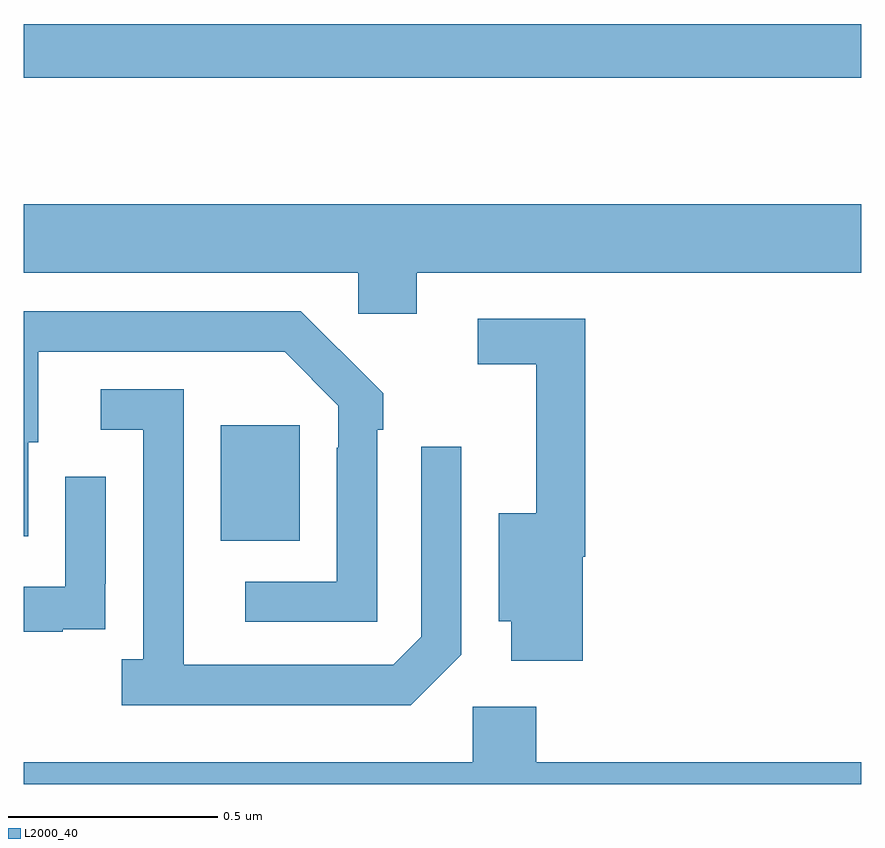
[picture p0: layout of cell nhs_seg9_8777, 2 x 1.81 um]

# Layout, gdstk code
import gdstk
lib = gdstk.Library(unit=1e-6, precision=1e-09)
def R(c, l, rs):  # rectangles x0, y0, x1, y1
    for r in rs: c.add(gdstk.rectangle(r[:2], r[2:], *l))
def P(c, l, *ps):  # polygons
    for p in ps: c.add(gdstk.Polygon(p, *l))
L2000_40 = (2000, 40)

nhs_seg9_8777 = lib.new_cell('nhs_seg9_8777')
R(nhs_seg9_8777, L2000_40, [(221.471,1229.081,221.659,1229.356), (221,1230.186,223,1230.314)])
P(nhs_seg9_8777, L2000_40, [(221.938,1229.72),(223,1229.72),(223,1229.884),(221,1229.884),(221,1229.72),(221.799,1229.72),(221.799,1229.622),(221.938,1229.622)],
  [(221.844,1229.345),(221.859,1229.345),(221.859,1229.433),(221.754,1229.538),(221.753,1229.537),(221.662,1229.628),(221,1229.628),(221,1229.091),(221.011,1229.091),(221.011,1229.316),(221.035,1229.316),(221.035,1229.532),(221.623,1229.532),(221.751,1229.403),(221.751,1229.303),(221.748,1229.303),(221.748,1228.983),(221.529,1228.983),(221.529,1228.887),(221.844,1228.887)],
  [(222.335,1229.042),(222.341,1229.042),(222.341,1229.61),(222.084,1229.61),(222.084,1229.502),(222.224,1229.502),(222.224,1229.146),(222.134,1229.146),(222.134,1228.889),(222.164,1228.889),(222.164,1228.794),(222.335,1228.794)],
  [(222.045,1228.809),(222.045,1229.305),(221.949,1229.305),(221.949,1228.851),(221.883,1228.785),(221.383,1228.785),(221.383,1228.985),(221.382,1228.985),(221.382,1229.442),(221.184,1229.442),(221.184,1229.346),(221.286,1229.346),(221.286,1228.798),(221.235,1228.798),(221.235,1228.688),(221.924,1228.688)],
  [(221.093,1228.869),(221.195,1228.869),(221.195,1228.978),(221.196,1228.978),(221.196,1229.233),(221.1,1229.233),(221.1,1228.971),(221,1228.971),(221,1228.863),(221.093,1228.863)],
  [(223,1228.552),(222.224,1228.552),(222.224,1228.684),(222.072,1228.684),(222.072,1228.552),(221,1228.552),(221,1228.5),(223,1228.5)])

lib.write_gds('nhs_seg9_8777.gds')
